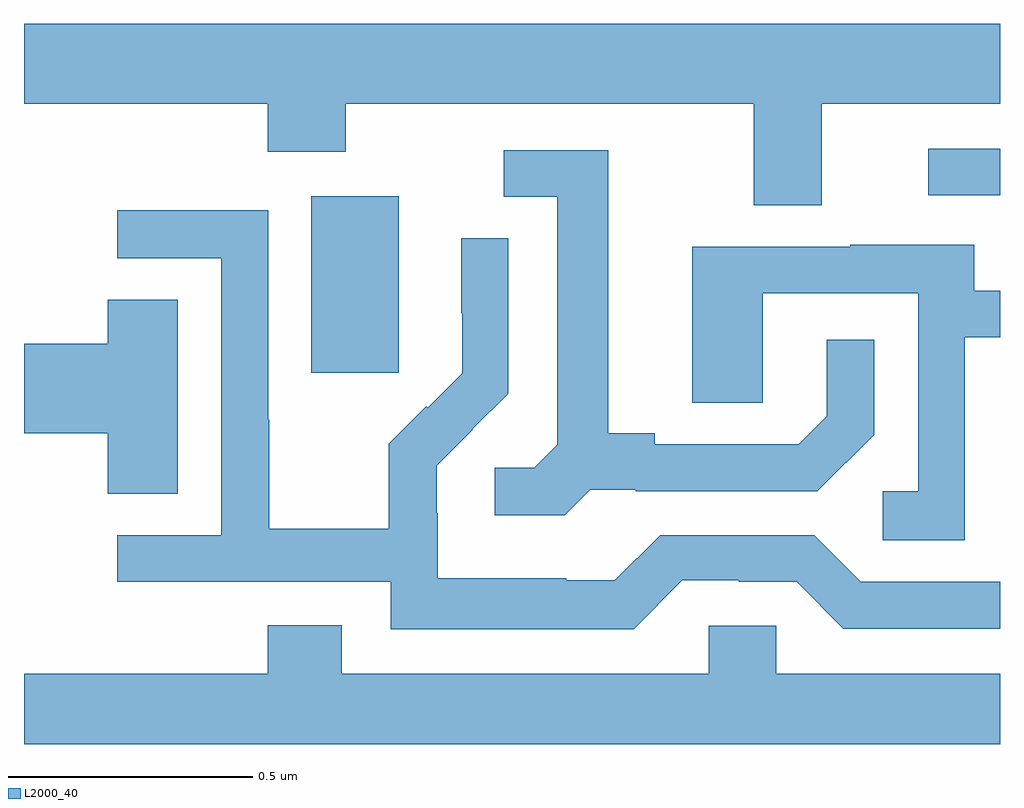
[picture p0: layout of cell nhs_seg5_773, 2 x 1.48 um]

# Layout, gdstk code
import gdstk
lib = gdstk.Library(unit=1e-6, precision=1e-09)
def R(c, l, rs):  # rectangles x0, y0, x1, y1
    for r in rs: c.add(gdstk.rectangle(r[:2], r[2:], *l))
def P(c, l, *ps):  # polygons
    for p in ps: c.add(gdstk.Polygon(p, *l))
L2000_40 = (2000, 40)

nhs_seg5_773 = lib.new_cell('nhs_seg5_773')
R(nhs_seg5_773, L2000_40, [(121.589,837.561,121.768,837.922), (122.853,837.924,123,838.02)])
P(nhs_seg5_773, L2000_40, [(122.635,838.112),(123,838.112),(123,838.276),(121,838.276),(121,838.112),(121.499,838.112),(121.499,838.013),(121.659,838.013),(121.659,838.112),(122.495,838.112),(122.495,837.904),(122.635,837.904)],
  [(122.16,837.321),(122.254,837.321),(122.254,837.318),(122.626,837.318),(122.742,837.434),(122.742,837.628),(122.645,837.628),(122.645,837.471),(122.588,837.414),(122.293,837.414),(122.293,837.437),(122.197,837.437),(122.197,838.017),(121.983,838.017),(121.983,837.921),(122.093,837.921),(122.093,837.413),(122.046,837.366),(121.965,837.366),(121.965,837.269),(122.108,837.269)],
  [(122.349,837.135),(122.465,837.135),(122.465,837.132),(122.583,837.132),(122.679,837.036),(123,837.036),(123,837.132),(122.715,837.132),(122.619,837.228),(122.304,837.228),(122.211,837.135),(122.111,837.135),(122.111,837.139),(121.848,837.139),(121.848,837.273),(121.846,837.273),(121.846,837.37),(121.92,837.444),(121.919,837.445),(121.992,837.518),(121.992,837.836),(121.896,837.836),(121.896,837.682),(121.898,837.682),(121.898,837.56),(121.827,837.489),(121.824,837.492),(121.747,837.415),(121.747,837.241),(121.503,837.241),(121.503,837.464),(121.5,837.464),(121.5,837.894),(121.191,837.894),(121.191,837.795),(121.404,837.795),(121.404,837.228),(121.191,837.228),(121.191,837.132),(121.752,837.132),(121.752,837.035),(122.249,837.035)],
  [(122.928,837.633),(123,837.633),(123,837.729),(122.947,837.729),(122.947,837.823),(122.693,837.823),(122.693,837.819),(122.369,837.819),(122.369,837.499),(122.514,837.499),(122.514,837.723),(122.832,837.723),(122.832,837.318),(122.76,837.318),(122.76,837.217),(122.928,837.217)],
  [(121.315,837.71),(121.172,837.71),(121.172,837.62),(121,837.62),(121,837.437),(121.172,837.437),(121.172,837.313),(121.315,837.313)],
  [(123,836.944),(122.541,836.944),(122.541,837.042),(122.403,837.042),(122.403,836.944),(121.651,836.944),(121.651,837.043),(121.499,837.043),(121.499,836.944),(121,836.944),(121,836.799),(123,836.799)])

lib.write_gds('nhs_seg5_773.gds')
